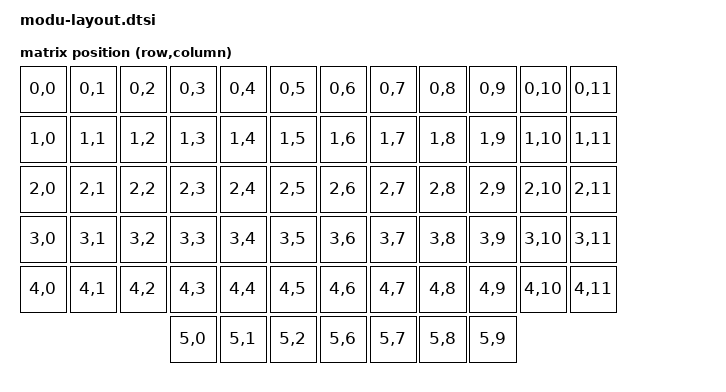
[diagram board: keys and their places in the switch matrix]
/*
 * Copyright (c) 2026 EKS Inc. Created by Ryu.
 * SPDX-License-Identifier: LicenseRef-EKS-NonCommercial-1.0
 * Unofficial Obrey dongle adaptation; see root NOTICE.md.
 */

#include <dt-bindings/zmk/matrix_transform.h>

/ {
    default_transform: keymap_transform_0 {
        compatible = "zmk,matrix-transform";
        columns = <12>;
        rows = <6>;

// | R0C0 | R0C1 | R0C2 | R0C3 | R0C4 | R0C5 |   | R0C0 | R0C1 | R0C2 | R0C3 | R0C4 | R0C5 |
// | R1C0 | R1C1 | R1C2 | R1C3 | R1C4 | R1C5 |   | R1C0 | R1C1 | R1C2 | R1C3 | R1C4 | R1C5 |
// | R2C0 | R2C1 | R2C2 | R2C3 | R2C4 | R2C5 |   | R2C0 | R2C1 | R2C2 | R2C3 | R2C4 | R2C5 |
// | R3C0 | R3C1 | R3C2 | R3C3 | R3C4 | R3C5 |   | R3C0 | R3C1 | R3C2 | R3C3 | R3C4 | R3C5 |
// | R4C0 | R4C1 | R4C2 | R4C3 | R4C4 | R4C5 |   | R4C0 | R4C1 | R4C2 | R4C3 | R4C4 | R4C5 |
//                      | DSW0 | DSW1 | DSW2 |   | DSW0 | DSW1 | DSW2 |  B  |
        map = <
RC(0,0) RC(0,1) RC(0,2) RC(0,3) RC(0,4) RC(0,5)  RC(0,6) RC(0,7) RC(0,8) RC(0,9) RC(0,10) RC(0,11)
RC(1,0) RC(1,1) RC(1,2) RC(1,3) RC(1,4) RC(1,5)  RC(1,6) RC(1,7) RC(1,8) RC(1,9) RC(1,10) RC(1,11)
RC(2,0) RC(2,1) RC(2,2) RC(2,3) RC(2,4) RC(2,5)  RC(2,6) RC(2,7) RC(2,8) RC(2,9) RC(2,10) RC(2,11)
RC(3,0) RC(3,1) RC(3,2) RC(3,3) RC(3,4) RC(3,5)  RC(3,6) RC(3,7) RC(3,8) RC(3,9) RC(3,10) RC(3,11)
RC(4,0) RC(4,1) RC(4,2) RC(4,3) RC(4,4) RC(4,5)  RC(4,6) RC(4,7) RC(4,8) RC(4,9) RC(4,10) RC(4,11)
                        RC(5,0) RC(5,1) RC(5,2)  RC(5,6) RC(5,7) RC(5,8) RC(5,9)
        >;
    };
};
